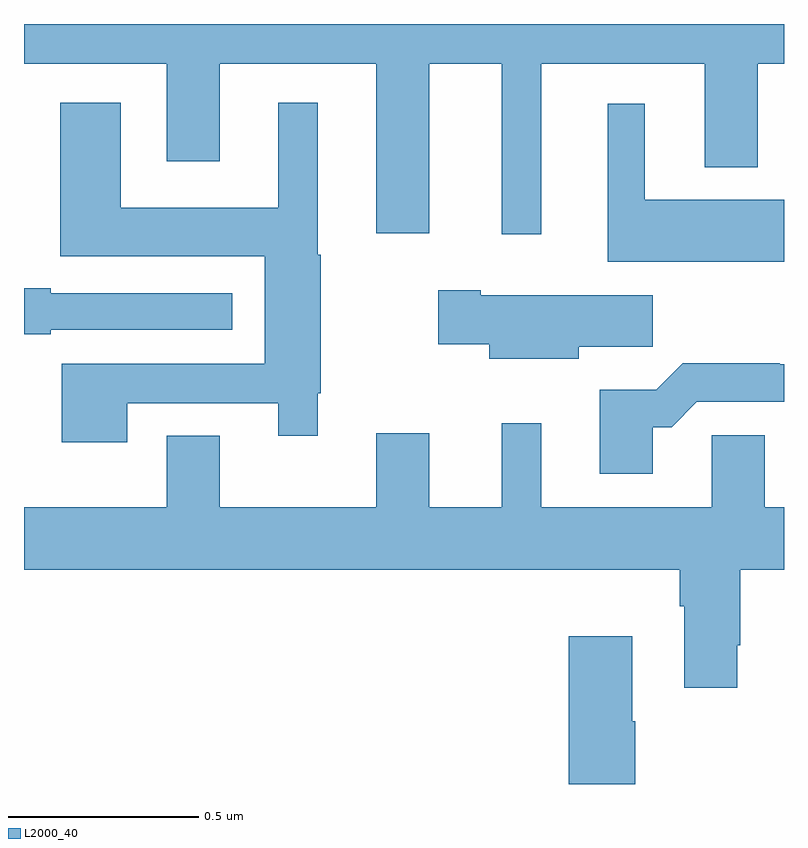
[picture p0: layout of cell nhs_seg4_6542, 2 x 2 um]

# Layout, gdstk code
import gdstk
lib = gdstk.Library(unit=1e-6, precision=1e-09)
def P(c, l, *ps):  # polygons
    for p in ps: c.add(gdstk.Polygon(p, *l))
L2000_40 = (2000, 40)

nhs_seg4_6542 = lib.new_cell('nhs_seg4_6542')
P(nhs_seg4_6542, L2000_40, [(192.361,820.796),(192.791,820.796),(192.791,820.523),(192.931,820.523),(192.931,820.796),(193,820.796),(193,820.9),(191,820.9),(191,820.796),(191.375,820.796),(191.375,820.539),(191.515,820.539),(191.515,820.796),(191.927,820.796),(191.927,820.35),(192.067,820.35),(192.067,820.796),(192.257,820.796),(192.257,820.347),(192.361,820.347)],
  [(191.272,819.902),(191.669,819.902),(191.669,819.816),(191.773,819.816),(191.773,819.928),(191.781,819.928),(191.781,820.293),(191.773,820.293),(191.773,820.693),(191.669,820.693),(191.669,820.417),(191.254,820.417),(191.254,820.693),(191.096,820.693),(191.096,820.289),(191.633,820.289),(191.633,820.006),(191.099,820.006),(191.099,819.8),(191.272,819.8)],
  [(193,820.438),(192.634,820.438),(192.634,820.69),(192.536,820.69),(192.536,820.274),(193,820.274)],
  [(191.071,820.095),(191.548,820.095),(191.548,820.191),(191.071,820.191),(191.071,820.204),(191,820.204),(191,820.083),(191.071,820.083)],
  [(192.46,820.051),(192.655,820.051),(192.655,820.186),(192.202,820.186),(192.202,820.199),(192.09,820.199),(192.09,820.057),(192.224,820.057),(192.224,820.019),(192.46,820.019)],
  [(192.655,819.839),(192.704,819.839),(192.771,819.906),(193,819.906),(193,820.004),(192.989,820.004),(192.989,820.007),(192.734,820.007),(192.664,819.937),(192.515,819.937),(192.515,819.717),(192.655,819.717)],
  [(192.877,819.265),(192.885,819.265),(192.885,819.464),(193,819.464),(193,819.628),(192.949,819.628),(192.949,819.818),(192.81,819.818),(192.81,819.628),(192.361,819.628),(192.361,819.85),(192.257,819.85),(192.257,819.628),(192.067,819.628),(192.067,819.823),(191.927,819.823),(191.927,819.628),(191.515,819.628),(191.515,819.817),(191.375,819.817),(191.375,819.628),(191,819.628),(191,819.464),(192.725,819.464),(192.725,819.368),(192.737,819.368),(192.737,819.153),(192.877,819.153)],
  [(192.609,819.065),(192.601,819.065),(192.601,819.289),(192.434,819.289),(192.434,818.9),(192.609,818.9)])

lib.write_gds('nhs_seg4_6542.gds')
